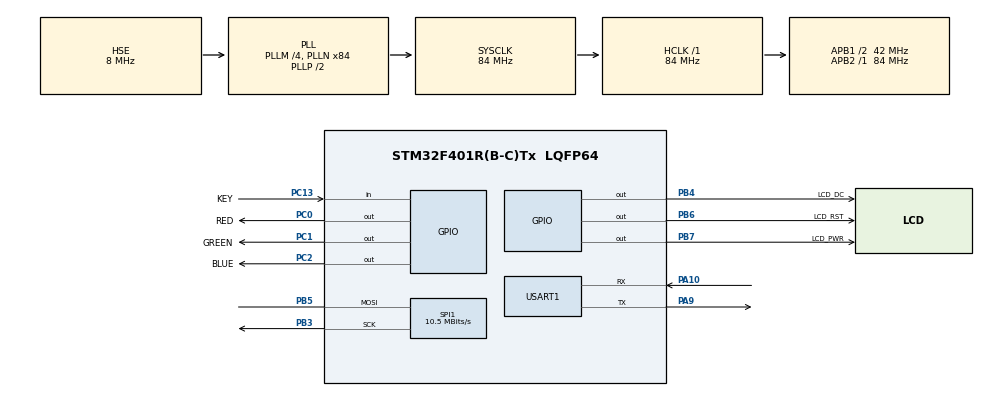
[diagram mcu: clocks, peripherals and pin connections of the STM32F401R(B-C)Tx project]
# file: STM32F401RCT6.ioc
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Dma.Request0=SPI1_TX
Dma.Request1=SPI1_RX
Dma.SPI1_RX.1.Direction=DMA_PERIPH_TO_MEMORY
Dma.SPI1_RX.1.FIFOMode=DMA_FIFOMODE_DISABLE
Dma.SPI1_RX.1.Instance=DMA2_Stream0
Dma.SPI1_RX.1.MemDataAlignment=DMA_MDATAALIGN_BYTE
Dma.SPI1_RX.1.MemInc=DMA_MINC_ENABLE
Dma.SPI1_RX.1.Mode=DMA_NORMAL
Dma.SPI1_RX.1.PeriphDataAlignment=DMA_PDATAALIGN_BYTE
Dma.SPI1_RX.1.PeriphInc=DMA_PINC_DISABLE
Dma.SPI1_RX.1.Priority=DMA_PRIORITY_LOW
Dma.SPI1_TX.0.Direction=DMA_MEMORY_TO_PERIPH
Dma.SPI1_TX.0.FIFOMode=DMA_FIFOMODE_DISABLE
Dma.SPI1_TX.0.Instance=DMA2_Stream3
Dma.SPI1_TX.0.MemDataAlignment=DMA_MDATAALIGN_BYTE
Dma.SPI1_TX.0.MemInc=DMA_MINC_ENABLE
Dma.SPI1_TX.0.Mode=DMA_NORMAL
Dma.SPI1_TX.0.PeriphDataAlignment=DMA_PDATAALIGN_BYTE
Dma.SPI1_TX.0.PeriphInc=DMA_PINC_DISABLE
Dma.SPI1_TX.0.Priority=DMA_PRIORITY_LOW
Mcu.Family=STM32F4
Mcu.Name=STM32F401R(B-C)Tx
Mcu.Package=LQFP64
NVIC.DMA2_Stream0_IRQn=true\:0\:0\:false\:false\:true\:false\:true\:true
NVIC.DMA2_Stream3_IRQn=true\:0\:0\:false\:false\:true\:false\:true\:true
NVIC.PriorityGroup=NVIC_PRIORITYGROUP_4
NVIC.TIM2_IRQn=true\:1\:0\:true\:false\:true\:true\:true\:true
NVIC.USART1_IRQn=true\:0\:0\:false\:false\:true\:true\:true\:true
PA10.Mode=Asynchronous
PA10.Signal=USART1_RX
PA13.Mode=Serial_Wire
PA13.Signal=SYS_JTMS-SWDIO
PA14.Mode=Serial_Wire
PA14.Signal=SYS_JTCK-SWCLK
PA9.Mode=Asynchronous
PA9.Signal=USART1_TX
PB3.GPIO_PuPd=GPIO_NOPULL
PB3.Mode=Simplex_Bidirectional_Master
PB3.Signal=SPI1_SCK
PB4.GPIO_Label=LCD_DC
PB4.GPIO_PuPd=GPIO_NOPULL
PB4.GPIO_Speed=GPIO_SPEED_FREQ_VERY_HIGH
PB4.PinState=GPIO_PIN_SET
PB4.Signal=GPIO_Output
PB5.GPIO_PuPd=GPIO_NOPULL
PB5.Mode=Simplex_Bidirectional_Master
PB5.Signal=SPI1_MOSI
PB6.GPIO_Label=LCD_RST
PB6.GPIO_PuPd=GPIO_PULLUP
PB6.GPIO_Speed=GPIO_SPEED_FREQ_VERY_HIGH
PB6.PinState=GPIO_PIN_SET
PB6.Signal=GPIO_Output
PB7.GPIO_Label=LCD_PWR
PB7.GPIO_PuPd=GPIO_PULLUP
PB7.GPIO_Speed=GPIO_SPEED_FREQ_VERY_HIGH
PB7.PinState=GPIO_PIN_RESET
PB7.Signal=GPIO_Output
PC0.GPIO_Label=RED
PC0.GPIO_PuPd=GPIO_PULLUP
PC0.PinState=GPIO_PIN_SET
PC0.Signal=GPIO_Output
PC1.GPIO_Label=GREEN
PC1.GPIO_PuPd=GPIO_PULLUP
PC1.PinState=GPIO_PIN_SET
PC1.Signal=GPIO_Output
PC13-ANTI_TAMP.GPIO_Label=KEY
PC13-ANTI_TAMP.GPIO_PuPd=GPIO_PULLUP
PC13-ANTI_TAMP.Signal=GPIO_Input
PC14-OSC32_IN.Mode=LSE-External-Oscillator
PC14-OSC32_IN.Signal=RCC_OSC32_IN
PC15-OSC32_OUT.Mode=LSE-External-Oscillator
PC15-OSC32_OUT.Signal=RCC_OSC32_OUT
PC2.GPIO_Label=BLUE
PC2.GPIO_PuPd=GPIO_PULLUP
PC2.PinState=GPIO_PIN_SET
PC2.Signal=GPIO_Output
PH0\ -\ OSC_IN.Mode=HSE-External-Oscillator
PH0\ -\ OSC_IN.Signal=RCC_OSC_IN
PH1\ -\ OSC_OUT.Mode=HSE-External-Oscillator
PH1\ -\ OSC_OUT.Signal=RCC_OSC_OUT
ProjectManager.HeapSize=0x200
ProjectManager.StackSize=0x400
ProjectManager.TargetToolchain=MDK-ARM V5
RCC.48MHZClocksFreq_Value=42000000
RCC.AHBFreq_Value=84000000
RCC.APB1CLKDivider=RCC_HCLK_DIV2
RCC.APB1Freq_Value=42000000
RCC.APB1TimFreq_Value=84000000
RCC.APB2Freq_Value=84000000
RCC.APB2TimFreq_Value=84000000
RCC.CortexFreq_Value=84000000
RCC.HCLKFreq_Value=84000000
RCC.HSE_VALUE=8000000
RCC.HSI_VALUE=16000000
RCC.PLLM=4
RCC.PLLN=84
RCC.PLLSourceVirtual=RCC_PLLSOURCE_HSE
RCC.SYSCLKFreq_VALUE=84000000
RCC.SYSCLKSource=RCC_SYSCLKSOURCE_PLLCLK
RCC.VCOOutputFreq_Value=168000000
SPI1.BaudRatePrescaler=SPI_BAUDRATEPRESCALER_8
SPI1.CLKPhase=SPI_PHASE_1EDGE
SPI1.CLKPolarity=SPI_POLARITY_LOW
SPI1.CalculateBaudRate=10.5 MBits/s
SPI1.Direction=SPI_DIRECTION_1LINE
SPI1.Mode=SPI_MODE_MASTER
SPI1.VirtualType=VM_MASTER
TIM2.Period=9
TIM2.Prescaler=8399
USART1.VirtualMode=VM_ASYNC
VP_TIM2_VS_ClockSourceINT.Mode=Internal
board=custom

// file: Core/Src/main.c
/* USER CODE BEGIN Header */
/**
  ******************************************************************************
  * @file           : main.c
  * @brief          : Main program body
  ******************************************************************************
  * @attention
  *
  * Copyright (c) 2022 STMicroelectronics.
  * All rights reserved.
  *
  * This software is licensed under terms that can be found in the LICENSE file
  * in the root directory of this software component.
  * If no LICENSE file comes with this software, it is provided AS-IS.
  *
  ******************************************************************************
  */
/* USER CODE END Header */
#include "main.h"
#include "dma.h"
#include "spi.h"
#include "tim.h"
#include "usart.h"
#include "gpio.h"

/* USER CODE BEGIN Includes */
#include "BSP_GPIO.h"
#include "BSP_USART.h"
#include "BSP_spi.h"
#include "stdio.h"
#include "lcd.h"
#include "lvgl.h"
#include "lv_port_disp.h"
#include "lv_port_indev.h"
/* USER CODE END Includes */

void SystemClock_Config(void);

/* USER CODE BEGIN 0 */

void HAL_TIM_PeriodElapsedCallback(TIM_HandleTypeDef *htim)
{
  /* USER CODE BEGIN Callback 0 */
static int counter=0;
  /* USER CODE END Callback 0 */

  if (htim == &htim2)
	{
		lv_tick_inc(1);
		lv_timer_handler();
		if(++counter%500==0)
				LED_R_TogglePin;
  }
  /* USER CODE END Callback 1 */
}
/* USER CODE END 0 */

int main(void)
{

  /* MCU Configuration--------------------------------------------------------*/

  /* Reset of all peripherals, Initializes the Flash interface and the Systick. */
  HAL_Init();

  /* Configure the system clock */
  SystemClock_Config();

  /* Initialize all configured peripherals */
  MX_GPIO_Init();
  MX_USART1_UART_Init();
  MX_DMA_Init();
  MX_SPI1_Init();
  MX_TIM2_Init();
  /* USER CODE BEGIN 2 */
	LCD_Test();
//	HAL_Delay(500);

	lv_init();
	lv_port_disp_init();
	HAL_TIM_Base_Start_IT(&htim2);
//	lv_port_indev_init();

    lv_obj_set_style_bg_color(lv_scr_act(), lv_color_hex(0x003a57), LV_PART_MAIN);

    /*Create a white label, set its text and align it to the center*/
    lv_obj_t * label = lv_label_create(lv_scr_act());
    lv_label_set_text(label, "Hello world");
    lv_obj_set_style_text_color(lv_scr_act(), lv_color_hex(0xffffff), LV_PART_MAIN);
    lv_obj_align(label, LV_ALIGN_CENTER, 0, 0);

  /* USER CODE END 2 */

  /* Infinite loop */
  /* USER CODE BEGIN WHILE */
  while (1)
  {
		HAL_Delay(1);
    /* USER CODE END WHILE */

  }
}

void SystemClock_Config(void)
{
  RCC_OscInitTypeDef RCC_OscInitStruct = {0};
  RCC_ClkInitTypeDef RCC_ClkInitStruct = {0};

  /** Configure the main internal regulator output voltage
  */
  __HAL_RCC_PWR_CLK_ENABLE();
  __HAL_PWR_VOLTAGESCALING_CONFIG(PWR_REGULATOR_VOLTAGE_SCALE2);

  /** Initializes the RCC Oscillators according to the specified parameters
  * in the RCC_OscInitTypeDef structure.
  */
  RCC_OscInitStruct.OscillatorType = RCC_OSCILLATORTYPE_HSE;
  RCC_OscInitStruct.HSEState = RCC_HSE_ON;
  RCC_OscInitStruct.PLL.PLLState = RCC_PLL_ON;
  RCC_OscInitStruct.PLL.PLLSource = RCC_PLLSOURCE_HSE;
  RCC_OscInitStruct.PLL.PLLM = 4;
  RCC_OscInitStruct.PLL.PLLN = 84;
  RCC_OscInitStruct.PLL.PLLP = RCC_PLLP_DIV2;
  RCC_OscInitStruct.PLL.PLLQ = 4;
  if (HAL_RCC_OscConfig(&RCC_OscInitStruct) != HAL_OK)
  {
    Error_Handler();
  }

  /** Initializes the CPU, AHB and APB buses clocks
  */
  RCC_ClkInitStruct.ClockType = RCC_CLOCKTYPE_HCLK|RCC_CLOCKTYPE_SYSCLK
                              |RCC_CLOCKTYPE_PCLK1|RCC_CLOCKTYPE_PCLK2;
  RCC_ClkInitStruct.SYSCLKSource = RCC_SYSCLKSOURCE_PLLCLK;
  RCC_ClkInitStruct.AHBCLKDivider = RCC_SYSCLK_DIV1;
  RCC_ClkInitStruct.APB1CLKDivider = RCC_HCLK_DIV2;
  RCC_ClkInitStruct.APB2CLKDivider = RCC_HCLK_DIV1;

  if (HAL_RCC_ClockConfig(&RCC_ClkInitStruct, FLASH_LATENCY_2) != HAL_OK)
  {
    Error_Handler();
  }
}

void Error_Handler(void)
{
  __disable_irq();
  while (1)
  {
  }
}
